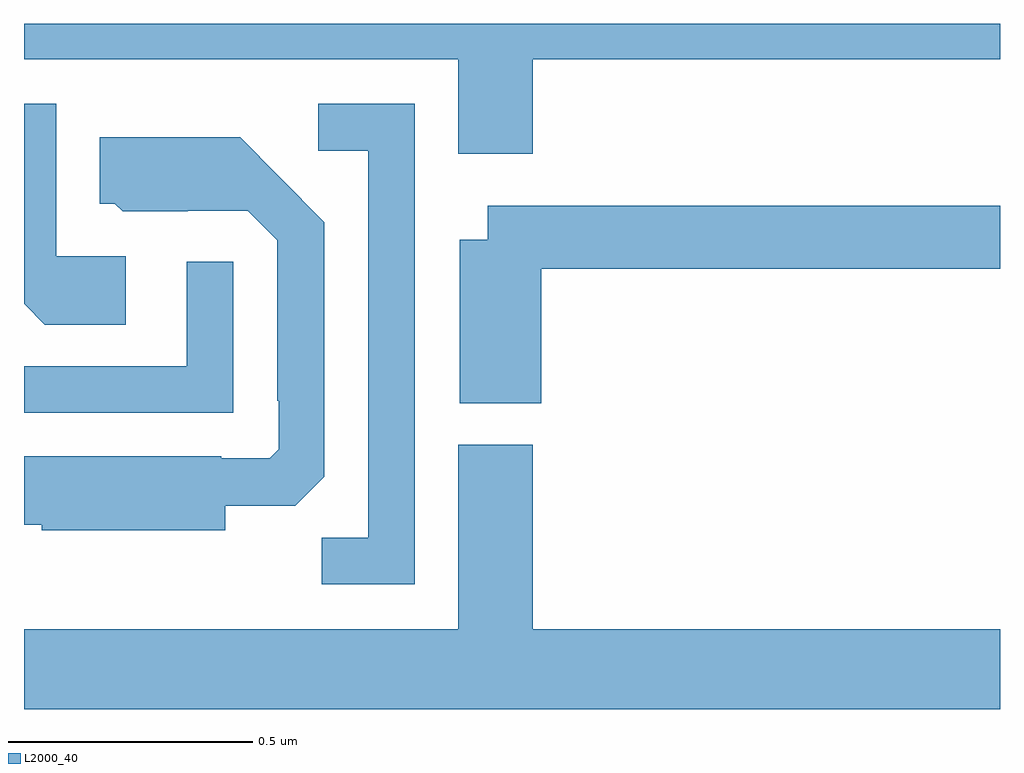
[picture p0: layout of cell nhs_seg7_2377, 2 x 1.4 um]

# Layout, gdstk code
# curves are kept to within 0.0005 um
import gdstk
lib = gdstk.Library(unit=1e-6, precision=1e-09)
def P(c, l, *ps):  # polygons
    for p in ps: c.add(gdstk.Polygon(p, *l))
L2000_40 = (2000, 40)

nhs_seg7_2377 = lib.new_cell('nhs_seg7_2377')
P(nhs_seg7_2377, L2000_40, [(145.043,1021.928),(146,1021.928),(146,1022),(144,1022),(144,1021.928),(144.89,1021.928),(144.89,1021.734),(145.043,1021.734)],
  [(144.208,1021.524),(144.066,1021.524),(144.066,1021.836),(144,1021.836),(144,1021.427),(144.043,1021.384),(144.208,1021.384)],
  [(144.801,1021.836),(144.603,1021.836),(144.603,1021.74),(144.705,1021.74),(144.705,1020.947),(144.61,1020.947),(144.61,1020.852),(144.801,1020.852)],
  [(144.412,1021.013),(144.556,1021.013),(144.615,1021.072),(144.615,1021.594),(144.443,1021.768),(144.155,1021.768),(144.155,1021.632),(144.186,1021.632),(144.202,1021.616),(144.336,1021.616),(144.336,1021.617),(144.459,1021.617),(144.519,1021.557),(144.519,1021.228),(144.522,1021.228),(144.522,1021.128),(144.504,1021.11),(144.404,1021.11),(144.404,1021.114),(144,1021.114),(144,1020.974),(144.036,1020.974),(144.036,1020.962),(144.412,1020.962)],
  [(145.06,1021.498),(146,1021.498),(146,1021.627),(144.95,1021.627),(144.95,1021.558),(144.893,1021.558),(144.893,1021.223),(145.06,1021.223)],
  [(144.429,1021.513),(144.333,1021.513),(144.333,1021.299),(144,1021.299),(144,1021.203),(144.429,1021.203)],
  [(146,1020.76),(145.043,1020.76),(145.043,1021.138),(144.89,1021.138),(144.89,1020.76),(144,1020.76),(144,1020.596),(146,1020.596)])

lib.write_gds('nhs_seg7_2377.gds')
